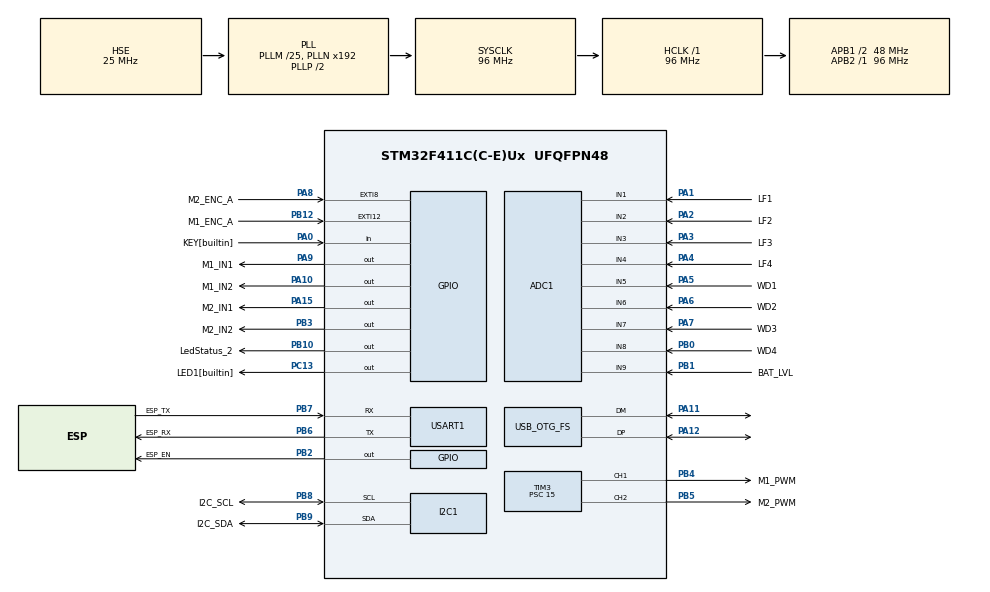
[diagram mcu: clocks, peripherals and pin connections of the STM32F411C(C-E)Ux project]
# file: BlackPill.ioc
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ADC1.Channel-0\#ChannelRegularConversion=ADC_CHANNEL_1
ADC1.Channel-10\#ChannelRegularConversion=ADC_CHANNEL_3
ADC1.Channel-11\#ChannelRegularConversion=ADC_CHANNEL_4
ADC1.Channel-12\#ChannelRegularConversion=ADC_CHANNEL_5
ADC1.Channel-13\#ChannelRegularConversion=ADC_CHANNEL_6
ADC1.Channel-14\#ChannelRegularConversion=ADC_CHANNEL_7
ADC1.Channel-15\#ChannelRegularConversion=ADC_CHANNEL_8
ADC1.Channel-16\#ChannelRegularConversion=ADC_CHANNEL_9
ADC1.Channel-9\#ChannelRegularConversion=ADC_CHANNEL_2
ADC1.NbrOfConversion=9
ADC1.NbrOfConversionFlag=1
ADC1.Rank-10\#ChannelRegularConversion=3
ADC1.Rank-11\#ChannelRegularConversion=4
ADC1.Rank-12\#ChannelRegularConversion=5
ADC1.Rank-13\#ChannelRegularConversion=6
ADC1.Rank-14\#ChannelRegularConversion=7
ADC1.Rank-15\#ChannelRegularConversion=8
ADC1.Rank-16\#ChannelRegularConversion=9
ADC1.Rank-9\#ChannelRegularConversion=2
ADC1.SamplingTime-0\#ChannelRegularConversion=ADC_SAMPLETIME_56CYCLES
ADC1.SamplingTime-10\#ChannelRegularConversion=ADC_SAMPLETIME_56CYCLES
ADC1.SamplingTime-11\#ChannelRegularConversion=ADC_SAMPLETIME_56CYCLES
ADC1.SamplingTime-12\#ChannelRegularConversion=ADC_SAMPLETIME_56CYCLES
ADC1.SamplingTime-13\#ChannelRegularConversion=ADC_SAMPLETIME_56CYCLES
ADC1.SamplingTime-14\#ChannelRegularConversion=ADC_SAMPLETIME_56CYCLES
ADC1.SamplingTime-15\#ChannelRegularConversion=ADC_SAMPLETIME_56CYCLES
ADC1.SamplingTime-16\#ChannelRegularConversion=ADC_SAMPLETIME_56CYCLES
ADC1.SamplingTime-9\#ChannelRegularConversion=ADC_SAMPLETIME_56CYCLES
ADC1.ScanConvMode=ENABLE
ADC1.master=1
Dma.ADC1.0.Direction=DMA_PERIPH_TO_MEMORY
Dma.ADC1.0.FIFOMode=DMA_FIFOMODE_DISABLE
Dma.ADC1.0.Instance=DMA2_Stream0
Dma.ADC1.0.MemDataAlignment=DMA_MDATAALIGN_HALFWORD
Dma.ADC1.0.MemInc=DMA_MINC_ENABLE
Dma.ADC1.0.Mode=DMA_NORMAL
Dma.ADC1.0.PeriphDataAlignment=DMA_PDATAALIGN_HALFWORD
Dma.ADC1.0.PeriphInc=DMA_PINC_DISABLE
Dma.ADC1.0.Priority=DMA_PRIORITY_VERY_HIGH
Dma.I2C1_RX.2.Direction=DMA_PERIPH_TO_MEMORY
Dma.I2C1_RX.2.FIFOMode=DMA_FIFOMODE_DISABLE
Dma.I2C1_RX.2.Instance=DMA1_Stream0
Dma.I2C1_RX.2.MemDataAlignment=DMA_MDATAALIGN_BYTE
Dma.I2C1_RX.2.MemInc=DMA_MINC_ENABLE
Dma.I2C1_RX.2.Mode=DMA_NORMAL
Dma.I2C1_RX.2.PeriphDataAlignment=DMA_PDATAALIGN_BYTE
Dma.I2C1_RX.2.PeriphInc=DMA_PINC_DISABLE
Dma.I2C1_RX.2.Priority=DMA_PRIORITY_VERY_HIGH
Dma.I2C1_TX.1.Direction=DMA_MEMORY_TO_PERIPH
Dma.I2C1_TX.1.FIFOMode=DMA_FIFOMODE_DISABLE
Dma.I2C1_TX.1.Instance=DMA1_Stream1
Dma.I2C1_TX.1.MemDataAlignment=DMA_MDATAALIGN_BYTE
Dma.I2C1_TX.1.MemInc=DMA_MINC_ENABLE
Dma.I2C1_TX.1.Mode=DMA_NORMAL
Dma.I2C1_TX.1.PeriphDataAlignment=DMA_PDATAALIGN_BYTE
Dma.I2C1_TX.1.PeriphInc=DMA_PINC_DISABLE
Dma.I2C1_TX.1.Priority=DMA_PRIORITY_LOW
Dma.Request0=ADC1
Dma.Request1=I2C1_TX
Dma.Request2=I2C1_RX
I2C1.I2C_Mode=I2C_Fast
Mcu.Family=STM32F4
Mcu.Name=STM32F411C(C-E)Ux
Mcu.Package=UFQFPN48
NVIC.ADC_IRQn=true\:0\:0\:false\:false\:true\:true\:true\:true
NVIC.DMA1_Stream0_IRQn=true\:0\:0\:false\:false\:true\:false\:true\:true
NVIC.DMA1_Stream1_IRQn=true\:0\:0\:false\:false\:true\:false\:true\:true
NVIC.DMA2_Stream0_IRQn=true\:0\:0\:false\:false\:true\:false\:true\:true
NVIC.EXTI15_10_IRQn=true\:0\:0\:false\:false\:true\:true\:true\:true
NVIC.EXTI9_5_IRQn=true\:0\:0\:false\:false\:true\:true\:true\:true
NVIC.FPU_IRQn=true\:0\:0\:false\:false\:true\:true\:false\:true
NVIC.I2C1_ER_IRQn=true\:0\:0\:false\:false\:true\:true\:true\:true
NVIC.I2C1_EV_IRQn=true\:0\:0\:false\:false\:true\:true\:true\:true
NVIC.OTG_FS_IRQn=true\:0\:0\:false\:false\:true\:true\:true\:true
NVIC.PriorityGroup=NVIC_PRIORITYGROUP_4
NVIC.TIM1_UP_TIM10_IRQn=true\:0\:0\:false\:false\:true\:true\:true\:true
NVIC.TIM3_IRQn=true\:0\:0\:false\:false\:true\:true\:true\:true
NVIC.USART1_IRQn=true\:0\:0\:false\:false\:true\:true\:true\:true
PA0-WKUP.GPIO_Label=KEY[builtin]
PA0-WKUP.Signal=GPIO_Input
PA1.GPIO_Label=LF1
PA1.Signal=ADCx_IN1
PA10.GPIO_Label=M1_IN2
PA10.Signal=GPIO_Output
PA11.Mode=Device_Only
PA11.Signal=USB_OTG_FS_DM
PA12.Mode=Device_Only
PA12.Signal=USB_OTG_FS_DP
PA13.Mode=Serial_Wire
PA13.Signal=SYS_JTMS-SWDIO
PA14.Mode=Serial_Wire
PA14.Signal=SYS_JTCK-SWCLK
PA15.GPIO_Label=M2_IN1
PA15.Signal=GPIO_Output
PA2.GPIO_Label=LF2
PA2.Signal=ADCx_IN2
PA3.GPIO_Label=LF3
PA3.Signal=ADCx_IN3
PA4.GPIO_Label=LF4
PA4.Signal=ADCx_IN4
PA5.GPIO_Label=WD1
PA5.Signal=ADCx_IN5
PA6.GPIO_Label=WD2
PA6.Signal=ADCx_IN6
PA7.GPIO_Label=WD3
PA7.Signal=ADCx_IN7
PA8.GPIO_Label=M2_ENC_A
PA8.Signal=GPXTI8
PA9.GPIO_Label=M1_IN1
PA9.Signal=GPIO_Output
PB0.GPIO_Label=WD4
PB0.Signal=ADCx_IN8
PB1.GPIO_Label=BAT_LVL
PB1.Signal=ADCx_IN9
PB10.GPIO_Label=LedStatus_2
PB10.Signal=GPIO_Output
PB12.GPIO_Label=M1_ENC_A
PB12.Signal=GPXTI12
PB13.Signal=SPI2_SCK
PB14.Signal=SPI2_MISO
PB15.Signal=SPI2_MOSI
PB2.GPIO_Label=ESP_EN
PB2.PinState=GPIO_PIN_SET
PB2.Signal=GPIO_Output
PB3.GPIO_Label=M2_IN2
PB3.Signal=GPIO_Output
PB4.GPIO_Label=M1_PWM
PB4.Signal=S_TIM3_CH1
PB5.GPIO_Label=M2_PWM
PB5.Signal=S_TIM3_CH2
PB6.GPIO_Label=ESP_RX
PB6.Mode=Asynchronous
PB6.Signal=USART1_TX
PB7.GPIO_Label=ESP_TX
PB7.Mode=Asynchronous
PB7.Signal=USART1_RX
PB8.GPIO_Label=I2C_SCL
PB8.Mode=I2C
PB8.Signal=I2C1_SCL
PB9.GPIO_Label=I2C_SDA
PB9.Mode=I2C
PB9.Signal=I2C1_SDA
PC13-ANTI_TAMP.GPIO_Label=LED1[builtin]
PC13-ANTI_TAMP.Signal=GPIO_Output
PC14-OSC32_IN.Mode=LSE-External-Oscillator
PC14-OSC32_IN.Signal=RCC_OSC32_IN
PC15-OSC32_OUT.Mode=LSE-External-Oscillator
PC15-OSC32_OUT.Signal=RCC_OSC32_OUT
PH0\ -\ OSC_IN.Mode=HSE-External-Oscillator
PH0\ -\ OSC_IN.Signal=RCC_OSC_IN
PH1\ -\ OSC_OUT.Mode=HSE-External-Oscillator
PH1\ -\ OSC_OUT.Signal=RCC_OSC_OUT
ProjectManager.HeapSize=0x200
ProjectManager.StackSize=0x400
ProjectManager.TargetToolchain=STM32CubeIDE
RCC.48MHZClocksFreq_Value=48000000
RCC.AHBFreq_Value=96000000
RCC.APB1CLKDivider=RCC_HCLK_DIV2
RCC.APB1Freq_Value=48000000
RCC.APB1TimFreq_Value=96000000
RCC.APB2Freq_Value=96000000
RCC.APB2TimFreq_Value=96000000
RCC.CortexFreq_Value=96000000
RCC.EnbaleCSS=true
RCC.HCLKFreq_Value=96000000
RCC.HSE_VALUE=25000000
RCC.HSI_VALUE=16000000
RCC.PLLM=25
RCC.SYSCLKFreq_VALUE=96000000
RCC.SYSCLKSource=RCC_SYSCLKSOURCE_PLLCLK
RCC.VCOOutputFreq_Value=192000000
SH.ADCx_IN1.0=ADC1_IN1,IN1
SH.ADCx_IN2.0=ADC1_IN2,IN2
SH.ADCx_IN3.0=ADC1_IN3,IN3
SH.ADCx_IN4.0=ADC1_IN4,IN4
SH.ADCx_IN5.0=ADC1_IN5,IN5
SH.ADCx_IN6.0=ADC1_IN6,IN6
SH.ADCx_IN7.0=ADC1_IN7,IN7
SH.ADCx_IN8.0=ADC1_IN8,IN8
SH.ADCx_IN9.0=ADC1_IN9,IN9
SH.S_TIM3_CH1.0=TIM3_CH1,PWM Generation1 CH1
SH.S_TIM3_CH2.0=TIM3_CH2,PWM Generation2 CH2
TIM1.Period=23999
TIM1.Prescaler=0
TIM3.Channel-PWM\ Generation1\ CH1=TIM_CHANNEL_1
TIM3.Channel-PWM\ Generation2\ CH2=TIM_CHANNEL_2
TIM3.OCMode_PWM-PWM\ Generation1\ CH1=TIM_OCMODE_PWM1
TIM3.Period=59999
TIM3.Prescaler=15
USART1.VirtualMode=VM_ASYNC
USB_DEVICE.APP_RX_DATA_SIZE=512
USB_DEVICE.APP_TX_DATA_SIZE=512
USB_DEVICE.CLASS_NAME_FS=CDC
USB_DEVICE.VirtualMode=Cdc
USB_DEVICE.VirtualModeFS=Cdc_FS
USB_OTG_FS.VirtualMode=Device_Only
VP_TIM1_VS_ClockSourceINT.Mode=Internal
VP_TIM3_VS_ClockSourceINT.Mode=Internal
VP_USB_DEVICE_VS_USB_DEVICE_CDC_FS.Mode=CDC_FS
board=custom

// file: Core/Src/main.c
/* USER CODE BEGIN Header */
/**
  ******************************************************************************
  * @file           : main.c
  * @brief          : Main program body
  ******************************************************************************
  * @attention
  *
  * Copyright (c) 2025 STMicroelectronics.
  * All rights reserved.
  *
  * This software is licensed under terms that can be found in the LICENSE file
  * in the root directory of this software component.
  * If no LICENSE file comes with this software, it is provided AS-IS.
  *
  ******************************************************************************
  */
/* USER CODE END Header */
#include "main.h"
#include "usb_device.h"

/* USER CODE BEGIN Includes */
#include "utilities.h"
#include "usbd_cdc_if.h"
#include "Protocol_Handler/protocol_handler.h"
#include "ADC/ADC_handler.h"
#include "Debouncer/debouncer.h"
#include "Motors/motors.h"
#include "Motors/encoder.h"
#include "I2C/OLED/display.h"
#include "I2C/MPU6050/mpu6050.h"

#include "WiFi/ESP01.h"
/* USER CODE END Includes */

/* USER CODE BEGIN PTD */
typedef enum{
	IDLE,
	FOLLOW_LINE,
	GO_FROM_TO
}e_Car_state;

typedef enum{
	INIT,
	MENU,
	INPUTS
}e_Disp_state;
/* USER CODE END PTD */

/* USER CODE BEGIN PD */
#define DISPLAY_TYPICAL_REFRESH_RATE_10MS		10 	//< 100ms de periodo, 10FPS
#define DISPLAY_MEDIUM_REFRESH_RATE_10MS		20 	//< 250ms de periodo, 5FPS
#define DISPLAY_LOW_REFRESH_RATE_10MS			100 //< 1000ms de periodo, 1FPS

#define ENCODER_FASTPPS_COUNTER_10MS			10 //< Toma el valor de los encoders cada 100ms

#define RXBUF									data->Rx.buffer
#define RXCMD									data->indexStart+POSID

#define IS10MS									generalFlags.bit.b0
#define IS5MS									generalFlags.bit.b1
/* USER CODE END PD */

ADC_HandleTypeDef hadc1;
DMA_HandleTypeDef hdma_adc1;

I2C_HandleTypeDef hi2c1;
DMA_HandleTypeDef hdma_i2c1_tx;
DMA_HandleTypeDef hdma_i2c1_rx;

TIM_HandleTypeDef htim1;
TIM_HandleTypeDef htim3;

UART_HandleTypeDef huart1;

/* USER CODE BEGIN PV */
u_flag generalFlags;

uint8_t is100ms1 = 10, is1s = 10, is5ms = 20, is20s = 10;

u_conv decom;

uint8_t key;

s_motor MotorL, MotorR;

s_encoder EncoderL, EncoderR;

s_MPU MPU6050;

struct{
	uint8_t isInit;
	uint8_t buffer[SSD1306_WIDTH * SSD1306_HEIGHT / 8];
	uint8_t state;
	uint32_t timer;
	uint8_t auxString[10];
	uint8_t refreshRate_10ms;
	uint8_t refreshCounter_10ms;

	uint8_t auxXPos;
	uint8_t auxYPos;
}Display;

struct{
	uint16_t raw[ADC_NUM_SENSORS];
	uint16_t value[ADC_NUM_SENSORS];
}Analog;

struct USB_DATA{
	s_commData data;
	uint8_t bytesToTx;
}USB;

struct ESP_DATA{
	_sESP01Handle Config;
	char *ssid;
	char *password;
	char *IP;
	s_commData data;
	uint8_t AT_Rx_data;
	uint8_t bytesToTx;
}ESP;

struct CAR_DATA{
	e_Car_state state;
}Car;

uint8_t	dataRx;
/* USER CODE END PV */

void SystemClock_Config(void);
static void MX_GPIO_Init(void);
static void MX_DMA_Init(void);
static void MX_ADC1_Init(void);
static void MX_TIM1_Init(void);
static void MX_I2C1_Init(void);
static void MX_TIM3_Init(void);
static void MX_USART1_UART_Init(void);
/* USER CODE BEGIN PFP */
void Init_Timing();
void Init_MPU6050();
void Init_Display();
void Init_WiFi();
/* HAL FUNCTIONS */
void HAL_TIM_PeriodElapsedCallback(TIM_HandleTypeDef *htim);

void HAL_I2C_MemRxCpltCallback(I2C_HandleTypeDef *hi2c);

void HAL_ADC_ConvCpltCallback(ADC_HandleTypeDef* hadc);

void HAL_GPIO_EXTI_Callback(uint16_t GPIO_Pin);

//void HAL_UART_RxCpltCallback(UART_HandleTypeDef *huart);
/* END HAL FUNCTIONS */

/**
* @brief esta funcion se llama desde la librería "protocol_handler" y
* ejecuta una acción según el comando decodificado
*
* @param data puntero a la estructura de datos de comunicación
*/
void decodeOn_USB(s_commData *data);

/**
 * @brief Funcion llamada automaticamente al haber un cambio de estado en user key, simula una interrupción
 *
 * @param value: Estado en el cual se detectó el cambio
 */
void onKeyChangeState(e_Estados value);

/************************************ FUNCIONES PARA ABSTRACCIÓN DE HARDWARE ************************************/

/**
 * @brief funcion para abstraer la librería "debouncer" del hardware
 *
 * @retval Valor del pin PA0, lee el valor del keyuser
 */
uint8_t KEY_Read_Value();

/**
  * @brief  CDC_Transmit_FS
  *         Data to send over USB IN endpoint are sent over CDC interface
  *         through this function.
  *         @note
  *
  * @param  Buf: Buffer of data to be sent
  * @param  Len: Number of data to be sent (in bytes)
  * @retval USBD_OK if all operations are OK else USBD_FAIL or USBD_BUSY
  */
uint8_t CDC_Transmit_FS(uint8_t* Buf, uint16_t Len);

/**
 * @brief esta funcion se llama desde la librería "protocol_handler" y
 * envía un bloque de datos a la librería USB
 *
 * @param data puntero a la estructura de datos de comunicación
 */
void writeOn_USB(s_commData *data);

/**
 * @brief esta funcion se llama desde la librería USB y
 * envía un bloque de datos a la librería "protocol_handler"
 *
 * @param buff recibe un puntero al buffer de datos recibidos
 * @param len tamaño del buffer
 */
void dataRxOn_USB(uint8_t *buff, uint32_t len);

/**
 * @brief abstracción de hardware para setear el valor de PMW del motor izquierdo
 *
 * @param dCycle: valor del PWM a setear en el motor
 */
void Motor_Left_SetPWM(uint16_t dCycle);

/**
 * @brief abstracción de hardware para setear los pines de dirección del motor izquierdo
 *
 * @param dir: Indica la forma en la que hay que setear los pines
 */
void Motor_Left_SetPins(uint8_t pinA, uint8_t pinB);

/**
 * @brief abstracción de hardware para setear el valor de PMW del motor derecho
 *
 * @param dCycle: valor del PWM a setear en el motor
 */
void Motor_Right_SetPWM(uint16_t dCycle);

/**
 * @brief abstracción de hardware para setear los pines de dirección del motor derecho
 *
 * @param dir: Indica la forma en la que hay que setear los pines
 */
void Motor_Right_SetPins(uint8_t pinA, uint8_t pinB);

/**
 * @brief abstracción de hardware de la función HAL_I2C_Mem_Write_DMA()
 * 		Write an amount of data in non-blocking mode with DMA to a specific memory address
 *
 * @param  DevAddress Target device address: The device 7 bits address value
 *         in datasheet must be shifted to the left before calling the interface
 * @param  MemAddress Internal memory address
 * @param  MemAddSize Size of internal memory address
 * @param  pData Pointer to data buffer
 * @param  Size Amount of data to be sent
 * @retval HAL status
 */
e_system I2C1_DMA_Mem_Write(uint16_t Dev_Address, uint8_t reg, uint8_t *p_Data, uint16_t _Size);

/**
  * @brief abstracción de hardware de la función HAL_I2C_Master_Transmit()
  * 		Transmits in master mode an amount of data in blocking mode.
  *
  * @param  DevAddress Target device address: The device 7 bits address value
  *         in datasheet must be shifted to the left before calling the interface
  * @param  pData Pointer to data buffer
  * @param  Size Amount of data to be sent
  * @param  Timeout Timeout duration
  * @retval HAL status
  */
e_system I2C1_Master_Transmit(uint16_t Dev_Address, uint8_t *p_Data, uint16_t _Size, uint32_t _Timeout);

/**
  * @brief abstracción de hardware de la función HAL_I2C_Mem_Read()
  * 		Read an amount of data in blocking mode from a specific memory address
  *
  * @param  DevAddress Target device address: The device 7 bits address value
  *         in datasheet must be shifted to the left before calling the interface
  * @param  MemAddress Internal memory address
  * @param  MemAddSize Size of internal memory address
  * @param  pData Pointer to data buffer
  * @param  Size Amount of data to be sent
  * @param  Timeout Timeout duration
  * @retval HAL status
  */
e_system I2C1_Mem_Read(uint16_t Dev_Address, uint8_t Mem_Adress, uint8_t Mem_AddSize, uint8_t *p_Data, uint16_t _Size, uint32_t _Timeout);

/**
  * @brief abstracción de hardware de la función HAL_I2C_Mem_Write()
  * 		Write an amount of data in blocking mode to a specific memory address
  *
  * @param  DevAddress Target device address: The device 7 bits address value
  *         in datasheet must be shifted to the left before calling the interface
  * @param  MemAddress Internal memory address
  * @param  MemAddSize Size of internal memory address
  * @param  pData Pointer to data buffer
  * @param  Size Amount of data to be sent
  * @param  Timeout Timeout duration
  * @retval HAL status
  */
e_system I2C1_Mem_Write(uint16_t Dev_Address, uint8_t Mem_Adress, uint8_t Mem_AddSize, uint8_t *p_Data, uint16_t _Size, uint32_t _Timeout);

void OLED_Print_Data_Task();

void BateryLevel_Set();

int ESP01_UART_Transmit(uint8_t val);

void ESP01_Data_Recived(uint8_t value);

void onESP01ChangeState(_eESP01STATUS esp01State);

void onESP01Debug(const char *dbgStr);

void setESP01_CHPD(uint8_t val);

void writeOn_ESP(s_commData *data);
/************************************ FIN FUNCIONES PARA ABSTRACCIÓN DE HARDWARE ************************************/
/* USER CODE END PFP */

/* USER CODE BEGIN 0 */
void OLED_Print_Data_Task(){
	if(Display.isInit){
		switch(Display.state){
		case INIT:
			if(HAL_GetTick() - Display.timer > 2000){
				Display_Fill(SSD1306_COLOR_BLACK);
				Display_DrawBitmap(0, 0, status_screen, 128, 64, SSD1306_COLOR_WHITE);
				Display.state = INPUTS;
			}
			break;
		case MENU:

			break;
		case INPUTS:
			BateryLevel_Set();

			Display_DrawBitmap(2, 17, ADC_Blackout, 37, 44, SSD1306_COLOR_BLACK);
			for(uint8_t i = 0; i < 8; i++){
				/*Display.auxYPos = 107 * Analog.value[i] + 170000;
				Display.auxYPos += 5000;
				Display.auxYPos /= 10000;
				Display.auxXPos = 2 + i * 3;
				Display_DrawLine(Display.auxXPos, 61,  Display.auxXPos, Display.auxYPos, SSD1306_COLOR_WHITE);
				Display_DrawLine(Display.auxXPos+1, 61,  Display.auxXPos+1, Display.auxYPos, SSD1306_COLOR_WHITE);*/
				for(uint8_t j = 0; j < 45; j++){
					if(Analog.value[i] <= ADC_to_Index[j]){
						Display.auxXPos = 2 + i * 3;
						Display_DrawLine(Display.auxXPos, 61,  Display.auxXPos, Index_to_Bar[j], SSD1306_COLOR_WHITE);
						Display_DrawLine(Display.auxXPos+1, 61,  Display.auxXPos+1, Index_to_Bar[j], SSD1306_COLOR_WHITE);
						break;
					}
				}
			}

			if(MPU6050.isInit){
				MPU6050.Acc.x = (MPU6050.Acc.x / 16384.0) * 9.8f;
				MPU6050.Acc.y = (MPU6050.Acc.y / 16384.0) * 9.8f;
				MPU6050.Acc.z = (MPU6050.Acc.z / 16384.0) * 9.8f;
				sprintf((char*)Display.auxString, "Ax:%d", MPU6050.Acc.x);
				Display_SetCursor(25, 17);
				Display_WriteString((char*)Display.auxString, Font_7x10, SSD1306_COLOR_WHITE);
				sprintf((char*)Display.auxString, "Ay:%d", MPU6050.Acc.y);
				Display_SetCursor(25, 34);
				Display_WriteString((char*)Display.auxString, Font_7x10, SSD1306_COLOR_WHITE);
				sprintf((char*)Display.auxString, "Az:%d", MPU6050.Acc.z);
				Display_SetCursor(25, 51);
				Display_WriteString((char*)Display.auxString, Font_7x10, SSD1306_COLOR_WHITE);
				sprintf((char*)Display.auxString, "Gx:%d", MPU6050.Gyro.x);
				Display_SetCursor(73, 17);
				Display_WriteString((char*)Display.auxString, Font_7x10, SSD1306_COLOR_WHITE);
				sprintf((char*)Display.auxString, "Gy:%d", MPU6050.Gyro.y);
				Display_SetCursor(73, 34);
				Display_WriteString((char*)Display.auxString, Font_7x10, SSD1306_COLOR_WHITE);
				sprintf((char*)Display.auxString, "Gz:%d", MPU6050.Gyro.z);
				Display_SetCursor(73, 51);
				Display_WriteString((char*)Display.auxString, Font_7x10, SSD1306_COLOR_WHITE);
			}
			break;
		}
	}

	Display_I2C_Refresh_Ready(TRUE);
}

void BateryLevel_Set(){
	Display_DrawFilledRectangle(3, 4, 6, 9, SSD1306_COLOR_BLACK);
	if(Analog.value[8] >= 3900){
		Display_DrawFilledRectangle(3, 4, 6, 9, SSD1306_COLOR_WHITE);
	}else if(Analog.value[8] >= 3000){
		Display_DrawFilledRectangle(3, 6, 6, 7, SSD1306_COLOR_WHITE);
	}else if(Analog.value[8] >= 2047){
		Display_DrawFilledRectangle(3, 8, 6, 5, SSD1306_COLOR_WHITE);
	}else if(Analog.value[8] >= 1023){
		Display_DrawFilledRectangle(3, 11, 6, 2, SSD1306_COLOR_WHITE);
	}
}

void decodeOn_USB(s_commData *data){
	switch(RXBUF[RXCMD]){
	case GETALIVE:
		data->auxBuffer[0] = ACK;
		comm_sendCMD(data, GETALIVE, &data->auxBuffer[0], 1);
		break;
	case FIRMWARE:
		break;
	case USERTEXT:
		break;
	case ADCSINGLE:
		if(RXBUF[RXCMD + 1] <= 8 && RXBUF[RXCMD + 1] >= 0){
			decom.ui16[0] = Analog.value[RXBUF[RXCMD + 1]];
			data->auxBuffer[0] = RXBUF[RXCMD + 1];
			data->auxBuffer[1] = decom.ui8[0];
			data->auxBuffer[2] = decom.ui8[1];
			comm_sendCMD(data, ADCSINGLE, &data->auxBuffer[0], 3);
		}else{
			comm_sendCMD(data, SYSWARNING, (uint8_t*)"NO ADC", 6);
		}
		break;
	case ADCBLOCK:
		for(uint8_t i = 0; i < ADC_NUM_SENSORS; i++){
			decom.ui16[0] = Analog.value[i];
			data->auxBuffer[i*2] = decom.ui8[0];
			data->auxBuffer[i*2+1] = decom.ui8[1];
		}
		comm_sendCMD(data, ADCBLOCK, data->auxBuffer, 17);
		break;
	case DEBUGER:

		break;
	case SETMOTOR:
		if(RXBUF[RXCMD + 1] == MOTOR_L){
			Motor_Set_Speed(&MotorL, RXBUF[RXCMD + 2]);
			USB.data.auxBuffer[0] = ACK;
			comm_sendCMD(data, SETMOTOR, data->auxBuffer, 1);
		}
		if(RXBUF[RXCMD + 1] == MOTOR_R){
			Motor_Set_Speed(&MotorR, RXBUF[RXCMD + 2]);
			USB.data.auxBuffer[0] = ACK;
			comm_sendCMD(data, SETMOTOR, data->auxBuffer, 1);
		}else{
			comm_sendCMD(data, SYSWARNING, (uint8_t*)"NO MOTOR", 8);
		}
		break;
	case GET_ENCODER:
		if(RXBUF[RXCMD + 1] == ENCODER_L){
			decom.ui16[0] = EncoderL.pps;
			data->auxBuffer[0] = ENCODER_L;
			data->auxBuffer[1] = decom.ui8[0];
			data->auxBuffer[2] = decom.ui8[1];
			comm_sendCMD(data, GET_ENCODER, &data->auxBuffer[0], 3);
		}else if(RXBUF[RXCMD + 1] == ENCODER_R){
			decom.ui16[0] = EncoderR.pps;
			data->auxBuffer[0] = ENCODER_R;
			data->auxBuffer[1] = decom.ui8[0];
			data->auxBuffer[2] = decom.ui8[1];
			comm_sendCMD(data, GET_ENCODER, &data->auxBuffer[0], 3);
		}else{
			comm_sendCMD(data, SYSWARNING, (uint8_t*)"NO ENCODER", 10);
		}
		break;
	case MPUBLOCK:
		decom.i16[0] = MPU6050.Acc.x;
		data->auxBuffer[0] = decom.ui8[0];
		data->auxBuffer[1] = decom.ui8[1];
		decom.i16[0] = MPU6050.Acc.y;
		data->auxBuffer[2] = decom.ui8[0];
		data->auxBuffer[3] = decom.ui8[1];
		decom.i16[0] = MPU6050.Acc.z;
		data->auxBuffer[4] = decom.ui8[0];
		data->auxBuffer[5] = decom.ui8[1];
		decom.i16[0] = MPU6050.Gyro.x;
		data->auxBuffer[6] = decom.ui8[0];
		data->auxBuffer[7] = decom.ui8[1];
		decom.i16[0] = MPU6050.Gyro.y;
		data->auxBuffer[8] = decom.ui8[0];
		data->auxBuffer[9] = decom.ui8[1];
		decom.i16[0] = MPU6050.Gyro.z;
		data->auxBuffer[10] = decom.ui8[0];
		data->auxBuffer[11] = decom.ui8[1];
		comm_sendCMD(data, MPUBLOCK, data->auxBuffer, 12);
		break;
	default:
		comm_sendCMD(data, SYSWARNING, (uint8_t*)"NO CMD", 6);
		break;
	}
}

void onKeyChangeState(e_Estados value){

}

void onESP01ChangeState(_eESP01STATUS esp01State) {
   switch (esp01State) {
        case ESP01_NOT_INIT:
            sprintf((char*)USB.data.auxBuffer, "ESP01: No inicializado");
            break;
        case ESP01_WIFI_DISCONNECTED:
            sprintf((char*)USB.data.auxBuffer, "ESP01: WiFi desconectado");
            break;
        case ESP01_WIFI_NOT_SETED:
            sprintf((char*)USB.data.auxBuffer, "ESP01: WiFi no configurado");
            break;
        case ESP01_WIFI_CONNECTING_WIFI:
            sprintf((char*)USB.data.auxBuffer, "ESP01: Conectando a WiFi...");
            break;
        case ESP01_WIFI_CONNECTED:
            sprintf((char*)USB.data.auxBuffer, "ESP01: WiFi conectado");
            break;
        case ESP01_WIFI_NEW_IP:
            sprintf((char*)USB.data.auxBuffer, "ESP01: Nueva IP asignada");
            break;
        case ESP01_UDPTCP_DISCONNECTED:
            sprintf((char*)USB.data.auxBuffer, "ESP01: UDP/TCP desconectado");
            break;
        case ESP01_UDPTCP_CONNECTING:
            sprintf((char*)USB.data.auxBuffer, "ESP01: Conectando UDP/TCP...");
            break;
        case ESP01_UDPTCP_CONNECTED:
            sprintf((char*)USB.data.auxBuffer, "ESP01: UDP/TCP conectado");
            break;
        case ESP01_SEND_BUSY:
            sprintf((char*)USB.data.auxBuffer, "ESP01: Enviando datos...");
            break;
        case ESP01_SEND_READY:
            sprintf((char*)USB.data.auxBuffer, "ESP01: Listo para enviar");
            break;
        case ESP01_SEND_OK:
            sprintf((char*)USB.data.auxBuffer, "ESP01: Envío OK");
            break;
        case ESP01_SEND_ERROR:
            sprintf((char*)USB.data.auxBuffer, "ESP01: Error al enviar");
            break;
        default:
            sprintf((char*)USB.data.auxBuffer, "ESP01: Estado desconocido");
            break;
    }

    // Cast explícito también aplicado aquí
    comm_sendCMD(&USB.data, USERTEXT, USB.data.auxBuffer, strlen((char*)USB.data.auxBuffer));
}

void onESP01Debug(const char *dbgStr) {
    comm_sendCMD(&USB.data, USERTEXT, (uint8_t *)dbgStr, strlen(dbgStr));
}

void task_10ms(){
	IS10MS = FALSE;

	is100ms1--;
	if(!is100ms1){
		is100ms1 = 10;
		HAL_GPIO_TogglePin(LED1_GPIO_Port, LED1_Pin);
		is1s--;
		if(!is1s){
			is1s = 10;
			Encoder_1s_Elapsed(&EncoderL);
			Encoder_1s_Elapsed(&EncoderR);

			/* ESTABILIZACIÓN DE PWM */
			Motor_Set_MaxValue(&MotorR, (3026/Analog.value[9]));//<! Usamos esto para independizar la salida PWM de la carga de las baterias
			Motor_Set_MaxValue(&MotorL, (3026/Analog.value[9]));
			/* END ESTABILIZACIÓN DE PWM */

			is20s--;
			if(!is20s){
				is20s = 10;
				if(ESP01_StateWIFI() == ESP01_WIFI_CONNECTED && ESP01_GETMODE() == CONNECTWIFI)
					comm_sendCMD(&ESP.data, GETALIVE, NULL, 0);
			}
		}
	}

	Display.refreshCounter_10ms--;
	if(!Display.refreshCounter_10ms){ 							//Tasa de refresco variable
		Display.refreshCounter_10ms = Display.refreshRate_10ms;
		OLED_Print_Data_Task();
	}

	ESP01_Timeout10ms();

	Debouncer_Task();

	Motor_Break_Timeout(&MotorL);
	Motor_Break_Timeout(&MotorR);
	Encoder_Task(&EncoderL);
	Encoder_Task(&EncoderR);
}
/* USER CODE END 0 */

int main(void)
{

  /* MCU Configuration--------------------------------------------------------*/

  /* Reset of all peripherals, Initializes the Flash interface and the Systick. */
  HAL_Init();

  /* USER CODE BEGIN Init */
  MPU6050.isInit = FALSE;
  Display.isInit = FALSE;
  Display.state = INIT;
  /* USER CODE END Init */

  /* Configure the system clock */
  SystemClock_Config();

  /* Initialize all configured peripherals */
  MX_GPIO_Init();
  MX_DMA_Init();
  MX_ADC1_Init();
  MX_USB_DEVICE_Init();
  MX_TIM1_Init();
  MX_I2C1_Init();
  MX_TIM3_Init();
  MX_USART1_UART_Init();
  /* USER CODE BEGIN 2 */
  /* INICIALIZACIÓN DE PROTOCOLO MEDIANTE USB */
  Comm_Init(&USB.data, &decodeOn_USB, &writeOn_USB);
  CDC_Attach_Rx(&dataRxOn_USB);
  /* FIN INICIALIZACIÓN DE PROTOCOLO MEDIANTE USB */

  /* INICIALIZACIÓN DE USER KEY Y DEBOUNCE */
  Debounce_Init();
  key = Debounce_Add(&KEY_Read_Value, &onKeyChangeState);
  /* FIN INICIALIZACIÓN DE USER KEY Y DEBOUNCE */

  /* INICIALIZACIÓN DE MPU6050 */
  Init_MPU6050();
  /* FIN INICIALIZACIÓN DE MPU6050 */

  /* INICIALIZACIÓN DISPLAY*/
  Init_Display();
  /* FIN INICIALIZACIÓN DISPLAY */

  /* INICIALIZACIÓN DE MOTORES Y ENCODERS */
  Motor_Init(&MotorL, &Motor_Left_SetPWM , &Motor_Left_SetPins , htim3.Instance->ARR);
  Motor_Init(&MotorR, &Motor_Right_SetPWM, &Motor_Right_SetPins, htim3.Instance->ARR);

  Encoder_Init(&EncoderL, ENCODER_FASTPPS_COUNTER_10MS);
  Encoder_Init(&EncoderR, ENCODER_FASTPPS_COUNTER_10MS);
  /* FIN INICIALIZACIÓN DE MOTORES Y ENCODERS */

  /* ESP01 INITIALIZATION */
  Init_WiFi();
  /* END ESP01 INITIALIZATION */
  Car.state = IDLE;

  Init_Timing();
  /* USER CODE END 2 */

  /* Infinite loop */
  while (1)
  {

    /* USER CODE BEGIN 3 */
	  /* USER TASK */
	Comm_Task(&USB.data);
	Comm_Task(&ESP.data);
	Display_UpdateScreen_Task();
	MPU6050_MAF(&MPU6050);
	ESP01_Task();
	/* END USER TASK */

	if(IS10MS){
		task_10ms();
	}

	switch(Car.state){
	case IDLE:

		break;
	case FOLLOW_LINE:

		break;
	case GO_FROM_TO:

		break;
	}
  }
  /* USER CODE END 3 */
}

void SystemClock_Config(void)
{
  RCC_OscInitTypeDef RCC_OscInitStruct = {0};
  RCC_ClkInitTypeDef RCC_ClkInitStruct = {0};

  /** Configure the main internal regulator output voltage
  */
  __HAL_RCC_PWR_CLK_ENABLE();
  __HAL_PWR_VOLTAGESCALING_CONFIG(PWR_REGULATOR_VOLTAGE_SCALE1);

  /** Initializes the RCC Oscillators according to the specified parameters
  * in the RCC_OscInitTypeDef structure.
  */
  RCC_OscInitStruct.OscillatorType = RCC_OSCILLATORTYPE_HSE;
  RCC_OscInitStruct.HSEState = RCC_HSE_ON;
  RCC_OscInitStruct.PLL.PLLState = RCC_PLL_ON;
  RCC_OscInitStruct.PLL.PLLSource = RCC_PLLSOURCE_HSE;
  RCC_OscInitStruct.PLL.PLLM = 25;
  RCC_OscInitStruct.PLL.PLLN = 192;
  RCC_OscInitStruct.PLL.PLLP = RCC_PLLP_DIV2;
  RCC_OscInitStruct.PLL.PLLQ = 4;
  if (HAL_RCC_OscConfig(&RCC_OscInitStruct) != HAL_OK)
  {
    Error_Handler();
  }

  /** Initializes the CPU, AHB and APB buses clocks
  */
  RCC_ClkInitStruct.ClockType = RCC_CLOCKTYPE_HCLK|RCC_CLOCKTYPE_SYSCLK
                              |RCC_CLOCKTYPE_PCLK1|RCC_CLOCKTYPE_PCLK2;
  RCC_ClkInitStruct.SYSCLKSource = RCC_SYSCLKSOURCE_PLLCLK;
  RCC_ClkInitStruct.AHBCLKDivider = RCC_SYSCLK_DIV1;
  RCC_ClkInitStruct.APB1CLKDivider = RCC_HCLK_DIV2;
  RCC_ClkInitStruct.APB2CLKDivider = RCC_HCLK_DIV1;

  if (HAL_RCC_ClockConfig(&RCC_ClkInitStruct, FLASH_LATENCY_3) != HAL_OK)
  {
    Error_Handler();
  }

  /** Enables the Clock Security System
  */
  HAL_RCC_EnableCSS();
}

static void MX_ADC1_Init(void)
{

  ADC_ChannelConfTypeDef sConfig = {0};

  /** Configure the global features of the ADC (Clock, Resolution, Data Alignment and number of conversion)
  */
  hadc1.Instance = ADC1;
  hadc1.Init.ClockPrescaler = ADC_CLOCK_SYNC_PCLK_DIV4;
  hadc1.Init.Resolution = ADC_RESOLUTION_12B;
  hadc1.Init.ScanConvMode = ENABLE;
  hadc1.Init.ContinuousConvMode = DISABLE;
  hadc1.Init.DiscontinuousConvMode = DISABLE;
  hadc1.Init.ExternalTrigConvEdge = ADC_EXTERNALTRIGCONVEDGE_NONE;
  hadc1.Init.ExternalTrigConv = ADC_SOFTWARE_START;
  hadc1.Init.DataAlign = ADC_DATAALIGN_RIGHT;
  hadc1.Init.NbrOfConversion = 9;
  hadc1.Init.DMAContinuousRequests = DISABLE;
  hadc1.Init.EOCSelection = ADC_EOC_SINGLE_CONV;
  if (HAL_ADC_Init(&hadc1) != HAL_OK)
  {
    Error_Handler();
  }

  /** Configure for the selected ADC regular channel its corresponding rank in the sequencer and its sample time.
  */
  sConfig.Channel = ADC_CHANNEL_1;
  sConfig.Rank = 1;
  sConfig.SamplingTime = ADC_SAMPLETIME_56CYCLES;
  if (HAL_ADC_ConfigChannel(&hadc1, &sConfig) != HAL_OK)
  {
    Error_Handler();
  }

  /** Configure for the selected ADC regular channel its corresponding rank in the sequencer and its sample time.
  */
  sConfig.Channel = ADC_CHANNEL_2;
  sConfig.Rank = 2;
  if (HAL_ADC_ConfigChannel(&hadc1, &sConfig) != HAL_OK)
  {
    Error_Handler();
  }

  /** Configure for the selected ADC regular channel its corresponding rank in the sequencer and its sample time.
  */
  sConfig.Channel = ADC_CHANNEL_3;
  sConfig.Rank = 3;
  if (HAL_ADC_ConfigChannel(&hadc1, &sConfig) != HAL_OK)
  {
    Error_Handler();
  }

  /** Configure for the selected ADC regular channel its corresponding rank in the sequencer and its sample time.
  */
  sConfig.Channel = ADC_CHANNEL_4;
  sConfig.Rank = 4;
  if (HAL_ADC_ConfigChannel(&hadc1, &sConfig) != HAL_OK)
  {
    Error_Handler();
  }

  /** Configure for the selected ADC regular channel its corresponding rank in the sequencer and its sample time.
  */
  sConfig.Channel = ADC_CHANNEL_5;
  sConfig.Rank = 5;
  if (HAL_ADC_ConfigChannel(&hadc1, &sConfig) != HAL_OK)
  {
    Error_Handler();
  }

  /** Configure for the selected ADC regular channel its corresponding rank in the sequencer and its sample time.
  */
  sConfig.Channel = ADC_CHANNEL_6;
  sConfig.Rank = 6;
  if (HAL_ADC_ConfigChannel(&hadc1, &sConfig) != HAL_OK)
  {
    Error_Handler();
  }

  /** Configure for the selected ADC regular channel its corresponding rank in the sequencer and its sample time.
  */
  sConfig.Channel = ADC_CHANNEL_7;
  sConfig.Rank = 7;
  if (HAL_ADC_ConfigChannel(&hadc1, &sConfig) != HAL_OK)
  {
    Error_Handler();
  }

  /** Configure for the selected ADC regular channel its corresponding rank in the sequencer and its sample time.
  */
  sConfig.Channel = ADC_CHANNEL_8;
  sConfig.Rank = 8;
  if (HAL_ADC_ConfigChannel(&hadc1, &sConfig) != HAL_OK)
  {
    Error_Handler();
  }

  /** Configure for the selected ADC regular channel its corresponding rank in the sequencer and its sample time.
  */
  sConfig.Channel = ADC_CHANNEL_9;
  sConfig.Rank = 9;
  if (HAL_ADC_ConfigChannel(&hadc1, &sConfig) != HAL_OK)
  {
    Error_Handler();
  }

}

static void MX_I2C1_Init(void)
{

  hi2c1.Instance = I2C1;
  hi2c1.Init.ClockSpeed = 400000;
  hi2c1.Init.DutyCycle = I2C_DUTYCYCLE_2;
  hi2c1.Init.OwnAddress1 = 0;
  hi2c1.Init.AddressingMode = I2C_ADDRESSINGMODE_7BIT;
  hi2c1.Init.DualAddressMode = I2C_DUALADDRESS_DISABLE;
  hi2c1.Init.OwnAddress2 = 0;
  hi2c1.Init.GeneralCallMode = I2C_GENERALCALL_DISABLE;
  hi2c1.Init.NoStretchMode = I2C_NOSTRETCH_DISABLE;
  if (HAL_I2C_Init(&hi2c1) != HAL_OK)
  {
    Error_Handler();
  }

}

static void MX_TIM1_Init(void)
{

  TIM_ClockConfigTypeDef sClockSourceConfig = {0};
  TIM_MasterConfigTypeDef sMasterConfig = {0};

  htim1.Instance = TIM1;
  htim1.Init.Prescaler = 0;
  htim1.Init.CounterMode = TIM_COUNTERMODE_UP;
  htim1.Init.Period = 23999;
  htim1.Init.ClockDivision = TIM_CLOCKDIVISION_DIV1;
  htim1.Init.RepetitionCounter = 0;
  htim1.Init.AutoReloadPreload = TIM_AUTORELOAD_PRELOAD_DISABLE;
  if (HAL_TIM_Base_Init(&htim1) != HAL_OK)
  {
    Error_Handler();
  }
  sClockSourceConfig.ClockSource = TIM_CLOCKSOURCE_INTERNAL;
  if (HAL_TIM_ConfigClockSource(&htim1, &sClockSourceConfig) != HAL_OK)
  {
    Error_Handler();
  }
  sMasterConfig.MasterOutputTrigger = TIM_TRGO_RESET;
  sMasterConfig.MasterSlaveMode = TIM_MASTERSLAVEMODE_DISABLE;
  if (HAL_TIMEx_MasterConfigSynchronization(&htim1, &sMasterConfig) != HAL_OK)
  {
    Error_Handler();
  }

}

static void MX_TIM3_Init(void)
{

  TIM_ClockConfigTypeDef sClockSourceConfig = {0};
  TIM_MasterConfigTypeDef sMasterConfig = {0};
  TIM_OC_InitTypeDef sConfigOC = {0};

  htim3.Instance = TIM3;
  htim3.Init.Prescaler = 15;
  htim3.Init.CounterMode = TIM_COUNTERMODE_UP;
  htim3.Init.Period = 59999;
  htim3.Init.ClockDivision = TIM_CLOCKDIVISION_DIV1;
  htim3.Init.AutoReloadPreload = TIM_AUTORELOAD_PRELOAD_DISABLE;
  if (HAL_TIM_Base_Init(&htim3) != HAL_OK)
  {
    Error_Handler();
  }
  sClockSourceConfig.ClockSource = TIM_CLOCKSOURCE_INTERNAL;
  if (HAL_TIM_ConfigClockSource(&htim3, &sClockSourceConfig) != HAL_OK)
  {
    Error_Handler();
  }
  if (HAL_TIM_PWM_Init(&htim3) != HAL_OK)
  {
    Error_Handler();
  }
  sMasterConfig.MasterOutputTrigger = TIM_TRGO_RESET;
  sMasterConfig.MasterSlaveMode = TIM_MASTERSLAVEMODE_DISABLE;
  if (HAL_TIMEx_MasterConfigSynchronization(&htim3, &sMasterConfig) != HAL_OK)
  {
    Error_Handler();
  }
  sConfigOC.OCMode = TIM_OCMODE_PWM1;
  sConfigOC.Pulse = 0;
  sConfigOC.OCPolarity = TIM_OCPOLARITY_HIGH;
  sConfigOC.OCFastMode = TIM_OCFAST_DISABLE;
  if (HAL_TIM_PWM_ConfigChannel(&htim3, &sConfigOC, TIM_CHANNEL_1) != HAL_OK)
  {
    Error_Handler();
  }
  if (HAL_TIM_PWM_ConfigChannel(&htim3, &sConfigOC, TIM_CHANNEL_2) != HAL_OK)
  {
    Error_Handler();
  }
  HAL_TIM_MspPostInit(&htim3);

}

static void MX_USART1_UART_Init(void)
{

  huart1.Instance = USART1;
  huart1.Init.BaudRate = 115200;
  huart1.Init.WordLength = UART_WORDLENGTH_8B;
  huart1.Init.StopBits = UART_STOPBITS_1;
  huart1.Init.Parity = UART_PARITY_NONE;
  huart1.Init.Mode = UART_MODE_TX_RX;
  huart1.Init.HwFlowCtl = UART_HWCONTROL_NONE;
  huart1.Init.OverSampling = UART_OVERSAMPLING_16;
  if (HAL_UART_Init(&huart1) != HAL_OK)
  {
    Error_Handler();
  }

}

static void MX_DMA_Init(void)
{

  /* DMA controller clock enable */
  __HAL_RCC_DMA2_CLK_ENABLE();
  __HAL_RCC_DMA1_CLK_ENABLE();

  /* DMA interrupt init */
  /* DMA1_Stream0_IRQn interrupt configuration */
  HAL_NVIC_SetPriority(DMA1_Stream0_IRQn, 0, 0);
  HAL_NVIC_EnableIRQ(DMA1_Stream0_IRQn);
  /* DMA1_Stream1_IRQn interrupt configuration */
  HAL_NVIC_SetPriority(DMA1_Stream1_IRQn, 0, 0);
  HAL_NVIC_EnableIRQ(DMA1_Stream1_IRQn);
  /* DMA2_Stream0_IRQn interrupt configuration */
  HAL_NVIC_SetPriority(DMA2_Stream0_IRQn, 0, 0);
  HAL_NVIC_EnableIRQ(DMA2_Stream0_IRQn);

}

static void MX_GPIO_Init(void)
{
  GPIO_InitTypeDef GPIO_InitStruct = {0};

  /* GPIO Ports Clock Enable */
  __HAL_RCC_GPIOC_CLK_ENABLE();
  __HAL_RCC_GPIOH_CLK_ENABLE();
  __HAL_RCC_GPIOA_CLK_ENABLE();
  __HAL_RCC_GPIOB_CLK_ENABLE();

  /*Configure GPIO pin Output Level */
  HAL_GPIO_WritePin(LED1_GPIO_Port, LED1_Pin, GPIO_PIN_RESET);

  /*Configure GPIO pin Output Level */
  HAL_GPIO_WritePin(ESP_EN_GPIO_Port, ESP_EN_Pin, GPIO_PIN_SET);

  /*Configure GPIO pin Output Level */
  HAL_GPIO_WritePin(GPIOB, LedStatus_2_Pin|M2_IN2_Pin, GPIO_PIN_RESET);

  /*Configure GPIO pin Output Level */
  HAL_GPIO_WritePin(GPIOA, M1_IN1_Pin|M1_IN2_Pin|M2_IN1_Pin, GPIO_PIN_RESET);

  /*Configure GPIO pin : LED1_Pin */
  GPIO_InitStruct.Pin = LED1_Pin;
  GPIO_InitStruct.Mode = GPIO_MODE_OUTPUT_PP;
  GPIO_InitStruct.Pull = GPIO_NOPULL;
  GPIO_InitStruct.Speed = GPIO_SPEED_FREQ_LOW;
  HAL_GPIO_Init(LED1_GPIO_Port, &GPIO_InitStruct);

  /*Configure GPIO pin : KEY_Pin */
  GPIO_InitStruct.Pin = KEY_Pin;
  GPIO_InitStruct.Mode = GPIO_MODE_INPUT;
  GPIO_InitStruct.Pull = GPIO_NOPULL;
  HAL_GPIO_Init(KEY_GPIO_Port, &GPIO_InitStruct);

  /*Configure GPIO pins : ESP_EN_Pin LedStatus_2_Pin M2_IN2_Pin */
  GPIO_InitStruct.Pin = ESP_EN_Pin|LedStatus_2_Pin|M2_IN2_Pin;
  GPIO_InitStruct.Mode = GPIO_MODE_OUTPUT_PP;
  GPIO_InitStruct.Pull = GPIO_NOPULL;
  GPIO_InitStruct.Speed = GPIO_SPEED_FREQ_LOW;
  HAL_GPIO_Init(GPIOB, &GPIO_InitStruct);

  /*Configure GPIO pin : M1_ENC_A_Pin */
  GPIO_InitStruct.Pin = M1_ENC_A_Pin;
  GPIO_InitStruct.Mode = GPIO_MODE_IT_RISING;
  GPIO_InitStruct.Pull = GPIO_NOPULL;
  HAL_GPIO_Init(M1_ENC_A_GPIO_Port, &GPIO_InitStruct);

  /*Configure GPIO pins : PB13 PB14 PB15 */
  GPIO_InitStruct.Pin = GPIO_PIN_13|GPIO_PIN_14|GPIO_PIN_15;
  GPIO_InitStruct.Mode = GPIO_MODE_AF_PP;
  GPIO_InitStruct.Pull = GPIO_NOPULL;
  GPIO_InitStruct.Speed = GPIO_SPEED_FREQ_VERY_HIGH;
  GPIO_InitStruct.Alternate = GPIO_AF5_SPI2;
  HAL_GPIO_Init(GPIOB, &GPIO_InitStruct);

  /*Configure GPIO pin : M2_ENC_A_Pin */
  GPIO_InitStruct.Pin = M2_ENC_A_Pin;
  GPIO_InitStruct.Mode = GPIO_MODE_IT_RISING;
  GPIO_InitStruct.Pull = GPIO_NOPULL;
  HAL_GPIO_Init(M2_ENC_A_GPIO_Port, &GPIO_InitStruct);

  /*Configure GPIO pins : M1_IN1_Pin M1_IN2_Pin M2_IN1_Pin */
  GPIO_InitStruct.Pin = M1_IN1_Pin|M1_IN2_Pin|M2_IN1_Pin;
  GPIO_InitStruct.Mode = GPIO_MODE_OUTPUT_PP;
  GPIO_InitStruct.Pull = GPIO_NOPULL;
  GPIO_InitStruct.Speed = GPIO_SPEED_FREQ_LOW;
  HAL_GPIO_Init(GPIOA, &GPIO_InitStruct);

  /* EXTI interrupt init*/
  HAL_NVIC_SetPriority(EXTI9_5_IRQn, 0, 0);
  HAL_NVIC_EnableIRQ(EXTI9_5_IRQn);

  HAL_NVIC_SetPriority(EXTI15_10_IRQn, 0, 0);
  HAL_NVIC_EnableIRQ(EXTI15_10_IRQn);

}

/* USER CODE BEGIN 4 */
/************************************ USER INIT FUNCTIONS ****************************************/
/* INICIALIZACIÓN DE TIMERS Y PWM*/
void Init_Timing(){
	  if(HAL_TIM_Base_Start_IT(&htim1) != HAL_OK){
		  comm_sendCMD(&USB.data, SYSERROR, (uint8_t*)"TIM1 INIT", 9);
	  }
	  if(HAL_TIM_Base_Start_IT(&htim3) != HAL_OK){
	  	  comm_sendCMD(&USB.data, SYSERROR, (uint8_t*)"TIM3 INIT BASE", 14);
	  }
	  if(HAL_TIM_PWM_Start(&htim3, TIM_CHANNEL_1) != HAL_OK){
		  comm_sendCMD(&USB.data, SYSERROR, (uint8_t*)"TIM3 INIT PWM1", 14);
	  }
	  if(HAL_TIM_PWM_Start(&htim3, TIM_CHANNEL_2) != HAL_OK){
		  comm_sendCMD(&USB.data, SYSERROR, (uint8_t*)"TIM3 INIT PWM2", 14);
	  }
}
/* FIN INICIALIZACIÓN DE TIMERS Y PWM*/
/* INICIALIZACIÓN DE MPU6050 */
void Init_MPU6050(){
	if(HAL_I2C_IsDeviceReady(&hi2c1, MPU6050_ADDR, 1, 1000) != HAL_OK){
		comm_sendCMD(&USB.data, SYSERROR, (uint8_t*)"MPU6050 READY", 13);
	}else{
		MPU6050_Set_I2C_Communication(&I2C1_Mem_Write, &I2C1_Mem_Read);
		if(MPU6050_Init(&MPU6050) != SYS_OK){
			comm_sendCMD(&USB.data, SYSERROR, (uint8_t*)"MPU6050 INIT", 12);
		}else{
			MPU6050_Calibrate(&MPU6050);
		}
	}
}
/* FIN INICIALIZACIÓN DE MPU6050 */

/* INICIALIZACIÓN DISPLAY*/
void Init_Display(){
	Display.refreshCounter_10ms = DISPLAY_MEDIUM_REFRESH_RATE_10MS;
	Display.refreshRate_10ms = DISPLAY_MEDIUM_REFRESH_RATE_10MS;

	if(HAL_I2C_IsDeviceReady(&hi2c1, SSD1306_I2C_ADDR, 1, 1000) != HAL_OK){
		comm_sendCMD(&USB.data, SYSERROR, (uint8_t*)"OLED READY", 10);
	}else{
		Display_Set_I2C_Master_Transmit(&I2C1_DMA_Mem_Write, &I2C1_Master_Transmit);
		if(Display_Init() != SYS_OK){
			comm_sendCMD(&USB.data, SYSERROR, (uint8_t*)"OLED INIT", 9);
		}else{
			Display_DrawBitmap(0,0, uner_logo, 128, 64, 1);
			Display.isInit = TRUE;
			Display.timer = HAL_GetTick();
		}
	}
}
/* FIN INICIALIZACIÓN DISPLAY */

/* INICIALIZACIÓN WIFI */
void Init_WiFi(){
	ESP.password = 	"wlan412877";
	ESP.ssid = 		"InternetPlus_bed788";
	ESP.IP = 		"192.168.1.10";

	Comm_Init(&ESP.data, &decodeOn_USB, &writeOn_ESP);
	ESP.data.isESP01 = TRUE;
	HAL_UART_Receive_IT(&huart1, &ESP.AT_Rx_data, 1);

	ESP.Config.DoCHPD = setESP01_CHPD;
	ESP.Config.WriteUSARTByte = ESP01_UART_Transmit;
	ESP.Config.WriteByteToBufRX = ESP01_Data_Recived;

	ESP01_Init(&ESP.Config);
	ESP01_SetWIFI(ESP.ssid, ESP.password);
	ESP01_StartUDP("192.168.1.10", 30010, 30000);
	//ESP01_AttachChangeState(&onESP01ChangeState);
	ESP01_AttachDebugStr(&onESP01Debug);

	ESP01_setMode(CREATEWIFI);
}
/* END INICIALIZACIÓN WIFI */

/************************************ END USER INIT FUNCTIONS ****************************************/
/***************************************** HAL CALLBACKS *********************************************/
void HAL_TIM_PeriodElapsedCallback(TIM_HandleTypeDef *htim){ //								1/4000s
	if(htim->Instance == TIM1){
		HAL_ADC_Start_DMA(&hadc1, (uint32_t*)&Analog.raw, ADC_NUM_SENSORS);
		is5ms--;
		if(!is5ms){
			is5ms = 20;
			if(MPU6050.isInit){
				HAL_I2C_Mem_Read_DMA(&hi2c1, MPU6050_ADDR, ACCEL_XOUT_REG, 1, MPU6050.bit_data, 14);
				Display_I2C_DMA_Ready(FALSE);
			}
		}
	}
	if(htim->Instance == TIM3){
		IS10MS = TRUE;
	}
}

void HAL_I2C_MemTxCpltCallback(I2C_HandleTypeDef *hi2c){
	if(hi2c->Devaddress == SSD1306_I2C_ADDR){
		if(!MPU6050.isInit){
			Display_I2C_DMA_Ready(TRUE);
		}
	}
}

void HAL_I2C_MemRxCpltCallback(I2C_HandleTypeDef *hi2c){
	if(hi2c->Devaddress == MPU6050_ADDR){
		MPU6050_I2C_DMA_Cplt(&MPU6050);
		Display_I2C_DMA_Ready(TRUE);
	}
}

void HAL_ADC_ConvCpltCallback(ADC_HandleTypeDef* hadc){
	ADC_Conversion_Cplt(Analog.raw, Analog.value);
}

void HAL_GPIO_EXTI_Callback(uint16_t GPIO_Pin){
    if (GPIO_Pin == M1_ENC_A_Pin){
    	Encoder_Add_Pulse(&EncoderL);
    }
    if (GPIO_Pin == M2_ENC_A_Pin){
    	Encoder_Add_Pulse(&EncoderR);
	}
}
/**************************************** END HAL CALLBACKS ***************************************/

/******************************************** ESP ***********************************************/
void HAL_UART_RxCpltCallback(UART_HandleTypeDef *huart){
	if(huart->Instance == USART1){
		ESP01_WriteRX(ESP.AT_Rx_data);
		HAL_UART_Receive_IT(&huart1, &ESP.AT_Rx_data, 1);
	}
}

int ESP01_UART_Transmit(uint8_t val){
	if(__HAL_UART_GET_FLAG(&huart1, UART_FLAG_TXE)){
		USART1->DR = val;
		return 1;
	}
	return 0;
}

void ESP01_Data_Recived(uint8_t value){
	ESP.data.Rx.buffer[ESP.data.Rx.write++] = value;
}

void writeOn_ESP(s_commData *data){
	ESP.bytesToTx = data->Tx.write - data->Tx.read;
	if(ESP01_Send(data->Tx.buffer,  data->Tx.read,  ESP.bytesToTx,  RINGBUFFLENGTH) == ESP01_SEND_READY){
		data->Tx.read += ESP.bytesToTx;
	}
}
/******************************************** END ESP ***********************************************/

/*************************************** HARDWARE ABSTRACTION ************************************/
e_system I2C1_DMA_Mem_Write(uint16_t Dev_Address, uint8_t reg, uint8_t *p_Data, uint16_t _Size){
	return (e_system)HAL_I2C_Mem_Write_DMA(&hi2c1, Dev_Address, reg, 1, p_Data, _Size);
}

e_system I2C1_Master_Transmit(uint16_t Dev_Address, uint8_t *p_Data, uint16_t _Size, uint32_t _Timeout){
	return (e_system)HAL_I2C_Master_Transmit(&hi2c1, Dev_Address, p_Data, _Size, _Timeout);
}

e_system I2C1_Mem_Write(uint16_t Dev_Address, uint8_t Mem_Adress, uint8_t Mem_AddSize, uint8_t *p_Data, uint16_t _Size, uint32_t _Timeout){
	return HAL_I2C_Mem_Write(&hi2c1, Dev_Address, Mem_Adress, Mem_AddSize, p_Data, _Size, _Timeout);
}

e_system I2C1_Mem_Read(uint16_t Dev_Address, uint8_t Mem_Adress, uint8_t Mem_AddSize, uint8_t *p_Data, uint16_t _Size, uint32_t _Timeout){
	return HAL_I2C_Mem_Read(&hi2c1, Dev_Address, Mem_Adress, Mem_AddSize, p_Data, _Size, _Timeout);
}

void setESP01_CHPD(uint8_t val){
	HAL_GPIO_WritePin(ESP_EN_GPIO_Port, ESP_EN_Pin, val);
}

uint8_t KEY_Read_Value(){
	return HAL_GPIO_ReadPin(KEY_GPIO_Port, KEY_Pin);
}

void writeOn_USB(s_commData *data){
	if(USB.data.Tx.write > USB.data.Tx.read){
		USB.bytesToTx = USB.data.Tx.write - USB.data.Tx.read;
	}else{
		USB.bytesToTx = RINGBUFFLENGTH - USB.data.Tx.read;
	}
	if(CDC_Transmit_FS(&USB.data.Tx.buffer[USB.data.Tx.read], USB.bytesToTx) == USBD_OK){
		USB.data.Tx.read += USB.bytesToTx;
	}
}

void dataRxOn_USB(uint8_t *buff, uint32_t len){
	if(buff != NULL){
		for(uint16_t i = 0; i < len; i++){
			USB.data.Rx.buffer[USB.data.Rx.write++] = buff[i];
		}
	}
}

void Motor_Left_SetPins(uint8_t pinA, uint8_t pinB){
	HAL_GPIO_WritePin(M1_IN1_GPIO_Port, M1_IN1_Pin, pinA);
	HAL_GPIO_WritePin(M1_IN2_GPIO_Port, M1_IN2_Pin, pinB);
}

void Motor_Right_SetPins(uint8_t pinA, uint8_t pinB){
	HAL_GPIO_WritePin(M2_IN1_GPIO_Port, M2_IN1_Pin, pinA);
	HAL_GPIO_WritePin(M2_IN2_GPIO_Port, M2_IN2_Pin, pinB);
}

void Motor_Left_SetPWM(uint16_t dCycle){
	__HAL_TIM_SET_COMPARE(&htim3, TIM_CHANNEL_1, dCycle);
}

void Motor_Right_SetPWM(uint16_t dCycle){
	__HAL_TIM_SET_COMPARE(&htim3, TIM_CHANNEL_2, dCycle);
}
/*************************************** END HARDWARE ABSTRACTION ************************************/
/* USER CODE END 4 */

void Error_Handler(void)
{
  __disable_irq();
  while (1)
  {
  }
}
